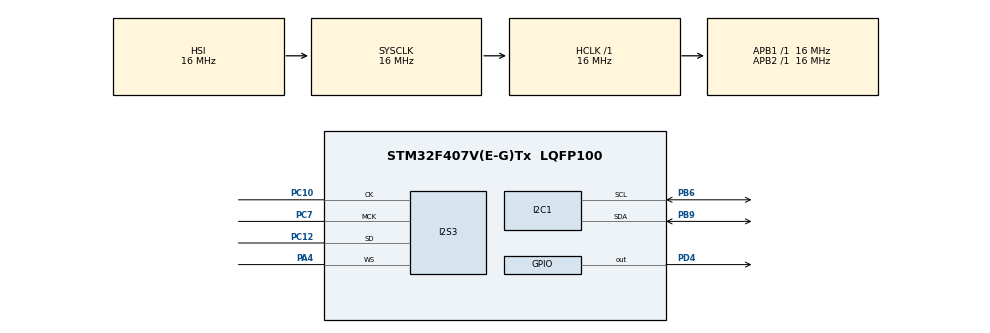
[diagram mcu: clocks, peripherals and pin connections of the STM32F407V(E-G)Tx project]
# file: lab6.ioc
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Dma.Request0=SPI3_TX
Dma.SPI3_TX.0.Direction=DMA_MEMORY_TO_PERIPH
Dma.SPI3_TX.0.FIFOMode=DMA_FIFOMODE_ENABLE
Dma.SPI3_TX.0.FIFOThreshold=DMA_FIFO_THRESHOLD_FULL
Dma.SPI3_TX.0.Instance=DMA1_Stream5
Dma.SPI3_TX.0.MemBurst=DMA_MBURST_SINGLE
Dma.SPI3_TX.0.MemDataAlignment=DMA_MDATAALIGN_HALFWORD
Dma.SPI3_TX.0.MemInc=DMA_MINC_ENABLE
Dma.SPI3_TX.0.Mode=DMA_CIRCULAR
Dma.SPI3_TX.0.PeriphBurst=DMA_PBURST_SINGLE
Dma.SPI3_TX.0.PeriphDataAlignment=DMA_PDATAALIGN_HALFWORD
Dma.SPI3_TX.0.PeriphInc=DMA_PINC_DISABLE
Dma.SPI3_TX.0.Priority=DMA_PRIORITY_LOW
I2S3.AudioFreq=I2S_AUDIOFREQ_48K
I2S3.ErrorAudioFreq=-2.34 %
I2S3.FullDuplexMode=I2S_FULLDUPLEXMODE_DISABLE
I2S3.Instance=SPI$Index
I2S3.RealAudioFreq=46.875 KHz
I2S3.VirtualMode=I2S_MODE_MASTER
Mcu.Family=STM32F4
Mcu.Name=STM32F407V(E-G)Tx
Mcu.Package=LQFP100
NVIC.DMA1_Stream5_IRQn=true\:0\:0\:false\:false\:true\:false\:true\:true
NVIC.PriorityGroup=NVIC_PRIORITYGROUP_4
PA4.Mode=Half_Duplex_Master
PA4.Signal=I2S3_WS
PB6.Mode=I2C
PB6.Signal=I2C1_SCL
PB9.Mode=I2C
PB9.Signal=I2C1_SDA
PC10.Mode=Half_Duplex_Master
PC10.Signal=I2S3_CK
PC12.Mode=Half_Duplex_Master
PC12.Signal=I2S3_SD
PC7.Mode=Master_Clock_Activated
PC7.Signal=I2S3_MCK
PD4.Signal=GPIO_Output
ProjectManager.HeapSize=0x200
ProjectManager.StackSize=0x400
ProjectManager.TargetToolchain=STM32CubeIDE
RCC.AHBFreq_Value=16000000
RCC.APB1Freq_Value=16000000
RCC.APB2Freq_Value=16000000
RCC.CortexFreq_Value=16000000
RCC.HSE_VALUE=25000000
RCC.HSI_VALUE=16000000
RCC.LSE_VALUE=32768
RCC.SYSCLKFreq_VALUE=16000000
RCC.VCOOutputFreq_Value=192000000
board=custom

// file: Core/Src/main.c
/* USER CODE BEGIN Header */
/**
  ******************************************************************************
  * @file           : main.c
  * @brief          : Main program body
  ******************************************************************************
  * @attention
  *
  * Copyright (c) 2023 STMicroelectronics.
  * All rights reserved.
  *
  * This software is licensed under terms that can be found in the LICENSE file
  * in the root directory of this software component.
  * If no LICENSE file comes with this software, it is provided AS-IS.
  *
  ******************************************************************************
  */
/* USER CODE END Header */
#include "main.h"

/* USER CODE BEGIN PTD */

typedef enum
{
  C4,
  MAX_VALUE
} soundToneType;

/* USER CODE END PTD */

/* USER CODE BEGIN PD */

#define CS43L22_I2C_ADDRESS   0x94
#define I2C_TIMEOUT       10

/* USER CODE END PD */

I2C_HandleTypeDef hi2c1;

I2S_HandleTypeDef hi2s3;
DMA_HandleTypeDef hdma_spi3_tx;

/* USER CODE BEGIN PV */

int16_t dataI2S[100] = {0};

/* USER CODE END PV */

void SystemClock_Config(void);
static void MX_GPIO_Init(void);
static void MX_DMA_Init(void);
static void MX_I2C1_Init(void);
static void MX_I2S3_Init(void);

/* USER CODE BEGIN 0 */

void CS43L22_Init(void)
{
  // Enable chip
  HAL_GPIO_WritePin(GPIOD, GPIO_PIN_4, GPIO_PIN_SET);

  //
  // Initialization
  //
  uint8_t TxBuffer[2];

  TxBuffer[0] = 0x0D;
  TxBuffer[1] = 0x01;
  HAL_I2C_Master_Transmit(&hi2c1, CS43L22_I2C_ADDRESS, (uint8_t*) &TxBuffer, 2, I2C_TIMEOUT);

  TxBuffer[0] = 0x00;
  TxBuffer[1] = 0x99;
  HAL_I2C_Master_Transmit(&hi2c1, CS43L22_I2C_ADDRESS, (uint8_t*) &TxBuffer, 2, I2C_TIMEOUT);

  TxBuffer[0] = 0x47;
  TxBuffer[1] = 0x80;
  HAL_I2C_Master_Transmit(&hi2c1, CS43L22_I2C_ADDRESS, (uint8_t*) &TxBuffer, 2, I2C_TIMEOUT);

  TxBuffer[0] = 0x32;
  TxBuffer[1] = 0xFF;
  HAL_I2C_Master_Transmit(&hi2c1, CS43L22_I2C_ADDRESS, (uint8_t*) &TxBuffer, 2, I2C_TIMEOUT);

  TxBuffer[0] = 0x32;
  TxBuffer[1] = 0x7F;
  HAL_I2C_Master_Transmit(&hi2c1, CS43L22_I2C_ADDRESS, (uint8_t*) &TxBuffer, 2, I2C_TIMEOUT);

  TxBuffer[0] = 0x00;
  TxBuffer[1] = 0x00;
  HAL_I2C_Master_Transmit(&hi2c1, CS43L22_I2C_ADDRESS, (uint8_t*) &TxBuffer, 2, I2C_TIMEOUT);

  TxBuffer[0] = 0x04;
  TxBuffer[1] = 0xAF;
  HAL_I2C_Master_Transmit(&hi2c1, CS43L22_I2C_ADDRESS, (uint8_t*) &TxBuffer, 2, I2C_TIMEOUT);

  TxBuffer[0] = 0x0D;
  TxBuffer[1] = 0x70;
  HAL_I2C_Master_Transmit(&hi2c1, CS43L22_I2C_ADDRESS, (uint8_t*) &TxBuffer, 2, I2C_TIMEOUT);

  TxBuffer[0] = 0x05;
  TxBuffer[1] = 0x81;
  HAL_I2C_Master_Transmit(&hi2c1, CS43L22_I2C_ADDRESS, (uint8_t*) &TxBuffer, 2, I2C_TIMEOUT);

  TxBuffer[0] = 0x06;
  TxBuffer[1] = 0x07;
  HAL_I2C_Master_Transmit(&hi2c1, CS43L22_I2C_ADDRESS, (uint8_t*) &TxBuffer, 2, I2C_TIMEOUT);

  TxBuffer[0] = 0x0A;
  TxBuffer[1] = 0x00;
  HAL_I2C_Master_Transmit(&hi2c1, CS43L22_I2C_ADDRESS, (uint8_t*) &TxBuffer, 2, I2C_TIMEOUT);

  TxBuffer[0] = 0x27;
  TxBuffer[1] = 0x00;
  HAL_I2C_Master_Transmit(&hi2c1, CS43L22_I2C_ADDRESS, (uint8_t*) &TxBuffer, 2, I2C_TIMEOUT);

  TxBuffer[0] = 0x1A;
  TxBuffer[1] = 0x0A;
  HAL_I2C_Master_Transmit(&hi2c1, CS43L22_I2C_ADDRESS, (uint8_t*) &TxBuffer, 2, I2C_TIMEOUT);

  TxBuffer[0] = 0x1B;
  TxBuffer[1] = 0x0A;
  HAL_I2C_Master_Transmit(&hi2c1, CS43L22_I2C_ADDRESS, (uint8_t*) &TxBuffer, 2, I2C_TIMEOUT);

  TxBuffer[0] = 0x1F;
  TxBuffer[1] = 0x0F;
  HAL_I2C_Master_Transmit(&hi2c1, CS43L22_I2C_ADDRESS, (uint8_t*) &TxBuffer, 2, I2C_TIMEOUT);

  TxBuffer[0] = 0x02;
  TxBuffer[1] = 0x9E;
  HAL_I2C_Master_Transmit(&hi2c1, CS43L22_I2C_ADDRESS, (uint8_t*) &TxBuffer, 2, I2C_TIMEOUT);
}

void CS43L22_Beep(soundToneType pitch, uint32_t duration_ms)
{
  uint8_t TxBuffer[2];

  // Set volume and off time
  TxBuffer[0] = 0x1D;   // Register address
  TxBuffer[1] = 0x00;   // Value (volume and off time)
  HAL_I2C_Master_Transmit(&hi2c1, CS43L22_I2C_ADDRESS, (uint8_t*) &TxBuffer, 2, I2C_TIMEOUT);

  // Set sound frequency
  TxBuffer[0] = 0x1C;   // Register address
  TxBuffer[1] = pitch << 4;
  HAL_I2C_Master_Transmit(&hi2c1, CS43L22_I2C_ADDRESS, (uint8_t*) &TxBuffer, 2, I2C_TIMEOUT);

  // Enable continuous mode (SOUND STARTED)
  TxBuffer[0] = 0x1E;   // Register address
  TxBuffer[1] = 0xC0;   // Value (beep and tone configuration)
  HAL_I2C_Master_Transmit(&hi2c1, CS43L22_I2C_ADDRESS, (uint8_t*) &TxBuffer, 2, I2C_TIMEOUT);

  // Playing...
  HAL_Delay(duration_ms);

  // Disable continuous mode (SOUND STOPED)
  TxBuffer[0] = 0x1E;   // Register address
  TxBuffer[1] = 0x00;   // Value (beep and tone configuration)
  HAL_I2C_Master_Transmit(&hi2c1, CS43L22_I2C_ADDRESS, (uint8_t*) &TxBuffer, 2, I2C_TIMEOUT);
}

/* USER CODE END 0 */

int main(void)
{

  /* MCU Configuration--------------------------------------------------------*/

  /* Reset of all peripherals, Initializes the Flash interface and the Systick. */
  HAL_Init();

  /* Configure the system clock */
  SystemClock_Config();

  /* Initialize all configured peripherals */
  MX_GPIO_Init();
  MX_DMA_Init();
  MX_I2C1_Init();
  MX_I2S3_Init();
  /* USER CODE BEGIN 2 */

  // Init DAC
  CS43L22_Init();

  // Transmit empty data
  HAL_I2S_Transmit_DMA(&hi2s3, (uint16_t *)dataI2S, 100);

  for (int i = 0; i < 0xf; i++) {
    CS43L22_Beep(i, 500);
    HAL_Delay(200);
  }

  /* USER CODE END 2 */

  /* Infinite loop */
  /* USER CODE BEGIN WHILE */
  while (1)
  {
    for (int i = 0; i < 0x7; i++) {
      CS43L22_Beep(i, 200);
      HAL_Delay(50);
    }

    for (int i = 0x6; i > 0; i--) {
      CS43L22_Beep(i, 200);
      HAL_Delay(50);
    }

    //    CS43L22_Beep(C4, 1500);
//    HAL_Delay(500);
//
//    CS43L22_Beep(C4, 2000);
//    HAL_Delay(500);
    /* USER CODE END WHILE */

  }
}

void SystemClock_Config(void)
{
  RCC_OscInitTypeDef RCC_OscInitStruct = {0};
  RCC_ClkInitTypeDef RCC_ClkInitStruct = {0};

  /** Macro to configure the PLL multiplication factor
  */
  __HAL_RCC_PLL_PLLM_CONFIG(16);

  /** Macro to configure the PLL clock source
  */
  __HAL_RCC_PLL_PLLSOURCE_CONFIG(RCC_PLLSOURCE_HSI);

  /** Configure the main internal regulator output voltage
  */
  __HAL_RCC_PWR_CLK_ENABLE();
  __HAL_PWR_VOLTAGESCALING_CONFIG(PWR_REGULATOR_VOLTAGE_SCALE1);

  /** Initializes the RCC Oscillators according to the specified parameters
  * in the RCC_OscInitTypeDef structure.
  */
  RCC_OscInitStruct.OscillatorType = RCC_OSCILLATORTYPE_HSI;
  RCC_OscInitStruct.HSIState = RCC_HSI_ON;
  RCC_OscInitStruct.HSICalibrationValue = RCC_HSICALIBRATION_DEFAULT;
  RCC_OscInitStruct.PLL.PLLState = RCC_PLL_NONE;
  RCC_OscInitStruct.PLL.PLLSource = RCC_PLLSOURCE_HSI;
  if (HAL_RCC_OscConfig(&RCC_OscInitStruct) != HAL_OK)
  {
    Error_Handler();
  }

  /** Initializes the CPU, AHB and APB buses clocks
  */
  RCC_ClkInitStruct.ClockType = RCC_CLOCKTYPE_HCLK|RCC_CLOCKTYPE_SYSCLK
                              |RCC_CLOCKTYPE_PCLK1|RCC_CLOCKTYPE_PCLK2;
  RCC_ClkInitStruct.SYSCLKSource = RCC_SYSCLKSOURCE_HSI;
  RCC_ClkInitStruct.AHBCLKDivider = RCC_SYSCLK_DIV1;
  RCC_ClkInitStruct.APB1CLKDivider = RCC_HCLK_DIV1;
  RCC_ClkInitStruct.APB2CLKDivider = RCC_HCLK_DIV1;

  if (HAL_RCC_ClockConfig(&RCC_ClkInitStruct, FLASH_LATENCY_0) != HAL_OK)
  {
    Error_Handler();
  }
}

static void MX_I2C1_Init(void)
{

  hi2c1.Instance = I2C1;
  hi2c1.Init.ClockSpeed = 100000;
  hi2c1.Init.DutyCycle = I2C_DUTYCYCLE_2;
  hi2c1.Init.OwnAddress1 = 0;
  hi2c1.Init.AddressingMode = I2C_ADDRESSINGMODE_7BIT;
  hi2c1.Init.DualAddressMode = I2C_DUALADDRESS_DISABLE;
  hi2c1.Init.OwnAddress2 = 0;
  hi2c1.Init.GeneralCallMode = I2C_GENERALCALL_DISABLE;
  hi2c1.Init.NoStretchMode = I2C_NOSTRETCH_DISABLE;
  if (HAL_I2C_Init(&hi2c1) != HAL_OK)
  {
    Error_Handler();
  }

}

static void MX_I2S3_Init(void)
{

  hi2s3.Instance = SPI3;
  hi2s3.Init.Mode = I2S_MODE_MASTER_TX;
  hi2s3.Init.Standard = I2S_STANDARD_PHILIPS;
  hi2s3.Init.DataFormat = I2S_DATAFORMAT_16B;
  hi2s3.Init.MCLKOutput = I2S_MCLKOUTPUT_ENABLE;
  hi2s3.Init.AudioFreq = I2S_AUDIOFREQ_48K;
  hi2s3.Init.CPOL = I2S_CPOL_LOW;
  hi2s3.Init.ClockSource = I2S_CLOCK_PLL;
  hi2s3.Init.FullDuplexMode = I2S_FULLDUPLEXMODE_DISABLE;
  if (HAL_I2S_Init(&hi2s3) != HAL_OK)
  {
    Error_Handler();
  }

}

static void MX_DMA_Init(void)
{

  /* DMA controller clock enable */
  __HAL_RCC_DMA1_CLK_ENABLE();

  /* DMA interrupt init */
  /* DMA1_Stream5_IRQn interrupt configuration */
  HAL_NVIC_SetPriority(DMA1_Stream5_IRQn, 0, 0);
  HAL_NVIC_EnableIRQ(DMA1_Stream5_IRQn);

}

static void MX_GPIO_Init(void)
{
  GPIO_InitTypeDef GPIO_InitStruct = {0};

  /* GPIO Ports Clock Enable */
  __HAL_RCC_GPIOA_CLK_ENABLE();
  __HAL_RCC_GPIOC_CLK_ENABLE();
  __HAL_RCC_GPIOD_CLK_ENABLE();
  __HAL_RCC_GPIOB_CLK_ENABLE();

  /*Configure GPIO pin Output Level */
  HAL_GPIO_WritePin(GPIOD, GPIO_PIN_4, GPIO_PIN_RESET);

  /*Configure GPIO pin : PD4 */
  GPIO_InitStruct.Pin = GPIO_PIN_4;
  GPIO_InitStruct.Mode = GPIO_MODE_OUTPUT_PP;
  GPIO_InitStruct.Pull = GPIO_NOPULL;
  GPIO_InitStruct.Speed = GPIO_SPEED_FREQ_LOW;
  HAL_GPIO_Init(GPIOD, &GPIO_InitStruct);

}

void Error_Handler(void)
{
  __disable_irq();
  while (1)
  {
  }
}
